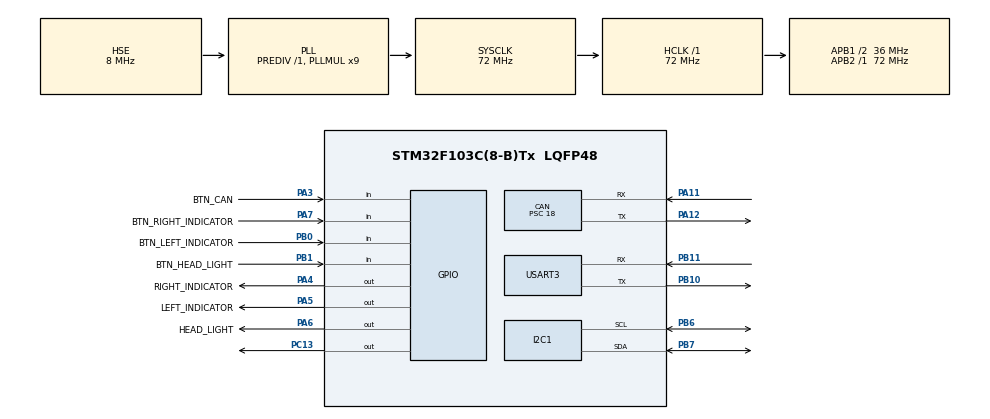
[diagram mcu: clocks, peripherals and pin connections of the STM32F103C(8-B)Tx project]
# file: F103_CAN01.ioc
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CAN.BS1=CAN_BS1_2TQ
CAN.CalculateBaudRate=500000
CAN.CalculateTimeBit=2000
CAN.CalculateTimeQuantum=500.0
CAN.Prescaler=18
I2C1.OwnAddress=0x23
Mcu.Family=STM32F1
Mcu.Name=STM32F103C(8-B)Tx
Mcu.Package=LQFP48
NVIC.CAN1_RX1_IRQn=true\:0\:0\:false\:false\:true\:true\:true\:true
NVIC.PriorityGroup=NVIC_PRIORITYGROUP_4
NVIC.USB_LP_CAN1_RX0_IRQn=true\:0\:0\:false\:false\:true\:true\:true\:true
PA11.Mode=CAN_Activate
PA11.Signal=CAN_RX
PA12.Mode=CAN_Activate
PA12.Signal=CAN_TX
PA13.Mode=Serial_Wire
PA13.Signal=SYS_JTMS-SWDIO
PA14.Mode=Serial_Wire
PA14.Signal=SYS_JTCK-SWCLK
PA3.GPIO_Label=BTN_CAN
PA3.GPIO_PuPd=GPIO_PULLDOWN
PA3.Signal=GPIO_Input
PA4.GPIO_Label=RIGHT_INDICATOR
PA4.Signal=GPIO_Output
PA5.GPIO_Label=LEFT_INDICATOR
PA5.Signal=GPIO_Output
PA6.GPIO_Label=HEAD_LIGHT
PA6.Signal=GPIO_Output
PA7.GPIO_Label=BTN_RIGHT_INDICATOR
PA7.GPIO_PuPd=GPIO_PULLDOWN
PA7.Signal=GPIO_Input
PB0.GPIO_Label=BTN_LEFT_INDICATOR
PB0.GPIO_PuPd=GPIO_PULLDOWN
PB0.Signal=GPIO_Input
PB1.GPIO_Label=BTN_HEAD_LIGHT
PB1.GPIO_PuPd=GPIO_PULLDOWN
PB1.Signal=GPIO_Input
PB10.Mode=Asynchronous
PB10.Signal=USART3_TX
PB11.Mode=Asynchronous
PB11.Signal=USART3_RX
PB6.Mode=I2C
PB6.Signal=I2C1_SCL
PB7.Mode=I2C
PB7.Signal=I2C1_SDA
PC13-TAMPER-RTC.Signal=GPIO_Output
PD0-OSC_IN.Mode=HSE-External-Oscillator
PD0-OSC_IN.Signal=RCC_OSC_IN
PD1-OSC_OUT.Mode=HSE-External-Oscillator
PD1-OSC_OUT.Signal=RCC_OSC_OUT
ProjectManager.HeapSize=0x200
ProjectManager.StackSize=0x400
ProjectManager.TargetToolchain=STM32CubeIDE
RCC.AHBFreq_Value=72000000
RCC.APB1CLKDivider=RCC_HCLK_DIV2
RCC.APB1Freq_Value=36000000
RCC.APB1TimFreq_Value=72000000
RCC.APB2Freq_Value=72000000
RCC.APB2TimFreq_Value=72000000
RCC.HCLKFreq_Value=72000000
RCC.PLLMUL=RCC_PLL_MUL9
RCC.PLLSourceVirtual=RCC_PLLSOURCE_HSE
RCC.SYSCLKFreq_VALUE=72000000
RCC.SYSCLKSource=RCC_SYSCLKSOURCE_PLLCLK
RCC.USBFreq_Value=72000000
USART3.VirtualMode=VM_ASYNC
board=custom

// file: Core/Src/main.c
/* USER CODE BEGIN Header */
/**
 ******************************************************************************
 * @file           : main.c
 * @brief          : Main program body
 ******************************************************************************
 * @attention
 *
 * Copyright (c) 2023 STMicroelectronics.
 * All rights reserved.
 *
 * This software is licensed under terms that can be found in the LICENSE file
 * in the root directory of this software component.
 * If no LICENSE file comes with this software, it is provided AS-IS.
 *
 ******************************************************************************
 */
/* USER CODE END Header */
#include "main.h"
#include "stm32f1xx.h"
#include <stdio.h>
#include <stdbool.h>

CAN_HandleTypeDef hcan;

I2C_HandleTypeDef hi2c1;

UART_HandleTypeDef huart3;

void SystemClock_Config(void);
static void MX_GPIO_Init(void);
static void MX_CAN_Init(void);
static void MX_USART3_UART_Init(void);
static void MX_I2C1_Init(void);
static void updateLightState(uint8_t);
static void sendLightState(void);

/* USER CODE BEGIN 0 */

CAN_TxHeaderTypeDef TxHeader;
CAN_TxHeaderTypeDef TxIVIHeader;
CAN_RxHeaderTypeDef RxHeader;

uint8_t TxData[8];
uint8_t RxData[8];

uint32_t TxMailbox;

bool lightsStatus = false;

void HAL_CAN_RxFifo1MsgPendingCallback(CAN_HandleTypeDef *hcan) {
	char TagCanCallback[30] = { "Master Callback fifo1....\n\r" };
	HAL_UART_Transmit(&huart3, (uint8_t*) &TagCanCallback, 30, 30);
	HAL_CAN_GetRxMessage(hcan, CAN_RX_FIFO1, &RxHeader, RxData);
	char TagCanResult[35];
	sprintf(TagCanResult, "Callback data %ld, %ld, %d\n\r", RxHeader.DLC,
			RxHeader.StdId, RxData[0]);
	HAL_UART_Transmit(&huart3, (uint8_t*) &TagCanResult, 35, 35);
	if (RxHeader.DLC == 2 && RxHeader.StdId == 259) {
		lightsStatus = true;
	}
}

/* USER CODE END 0 */

int main(void) {

	/* MCU Configuration--------------------------------------------------------*/

	/* Reset of all peripherals, Initializes the Flash interface and the Systick. */
	HAL_Init();

	/* Configure the system clock */
	SystemClock_Config();

	/* Initialize all configured peripherals */
	MX_GPIO_Init();
	MX_CAN_Init();
	MX_USART3_UART_Init();
	MX_I2C1_Init();
	/* USER CODE BEGIN 2 */
	HAL_CAN_Start(&hcan);

	// Activate the notification
	HAL_CAN_ActivateNotification(&hcan, CAN_IT_RX_FIFO1_MSG_PENDING);

	TxHeader.DLC = 2;  // data length
	TxHeader.IDE = CAN_ID_STD;
	TxHeader.RTR = CAN_RTR_DATA;
	TxHeader.StdId = 0x446;  // ID

	TxData[0] = 200;   // ms Delay
	TxData[1] = 40;    // loop rep

	TxIVIHeader.DLC = 2;
	TxIVIHeader.IDE = CAN_ID_STD;
	TxIVIHeader.RTR = CAN_RTR_DATA;
	TxIVIHeader.StdId = 0x242;
	TxIVIHeader.TransmitGlobalTime = 1;

	uint8_t sensorAddress = 0x23 << 1;
	uint8_t buffer = 0x01;

	// Power On
	char *TagLightSensor = { '\0' };
	if (HAL_I2C_Master_Transmit(&hi2c1, sensorAddress, &buffer, 1, 100)
			!= HAL_OK) {
		TagLightSensor = "Light sensor power ON failed\n\r";
		HAL_UART_Transmit(&huart3, (uint8_t*) TagLightSensor, 33, 33);
	}

	HAL_Delay(5);

	if (HAL_I2C_GetState(&hi2c1) != HAL_I2C_STATE_READY) {
		TagLightSensor = "Light sensor get state failed\n\r";
		HAL_UART_Transmit(&huart3, (uint8_t*) TagLightSensor, 33, 33);
	}

	// Reset Illuminance Register
	buffer = 0x03;
	if (HAL_I2C_Master_Transmit(&hi2c1, sensorAddress, &buffer, 1, 100)
			!= HAL_OK) {
		TagLightSensor = "Light sensor reset failed\n\r";
		HAL_UART_Transmit(&huart3, (uint8_t*) TagLightSensor, 29, 29);
	}

	// Set measurement mode
	buffer = 0x10;
	if (HAL_I2C_Master_Transmit(&hi2c1, sensorAddress, &buffer, 1, 100)
			!= HAL_OK) {
		TagLightSensor = "Light sensor read failed\n\r";
		HAL_UART_Transmit(&huart3, (uint8_t*) TagLightSensor, 28, 28);
	}

	HAL_Delay(180); // Wait for measurement (or come back after 180 ms instead of idling)

	/* USER CODE END 2 */

	/* Infinite loop */
	while (1) {
		if (HAL_GPIO_ReadPin(GPIOA, BTN_CAN_Pin) == GPIO_PIN_SET) { //Check if CAN button pressed
			char TagCan[35] = { "Master trigger from switch....\n\r" };
			TxData[0] = 200;   // ms Delay
			TxData[1] = 40;    // loop rep
			HAL_UART_Transmit(&huart3, (uint8_t*) &TagCan, 35, 35);
			HAL_CAN_AddTxMessage(&hcan, &TxHeader, TxData, &TxMailbox);
		}

		if (lightsStatus) {
			if (RxData[0] == 4)
				sendLightState();
			else
				updateLightState(RxData[0]);

			lightsStatus = false;
		}

		if (HAL_GPIO_ReadPin(GPIOB, BTN_HEAD_LIGHT_Pin) == GPIO_PIN_SET) { //Check if head light button pressed
			char *TagBtnHeadLight = { "Head light Switch pressed\n\r" };
			HAL_UART_Transmit(&huart3, (uint8_t*) TagBtnHeadLight, 29, 29);
			TxData[0] = 1;
			if (HAL_GPIO_ReadPin(GPIOA, HEAD_LIGHT_Pin) == GPIO_PIN_SET) {
				TxData[1] = 0;
				HAL_GPIO_WritePin(GPIOA, HEAD_LIGHT_Pin, GPIO_PIN_RESET); //HEAD LIGHT OFF
				HAL_CAN_AddTxMessage(&hcan, &TxIVIHeader, TxData, &TxMailbox);
			} else {
				TxData[1] = 1;
				HAL_GPIO_WritePin(GPIOA, HEAD_LIGHT_Pin, GPIO_PIN_SET); // HEAD LIGHT ON
				HAL_CAN_AddTxMessage(&hcan, &TxIVIHeader, TxData, &TxMailbox);
			}
		}

		if (HAL_GPIO_ReadPin(GPIOB, BTN_LEFT_INDICATOR_Pin) == GPIO_PIN_SET) { //Check if left indicator button pressed
			char *TagBtnLeftIndicator = { "Left Indicator Switch pressed\n\r" };
			HAL_UART_Transmit(&huart3, (uint8_t*) TagBtnLeftIndicator, 35, 35);
			TxData[0] = 2;
			if (HAL_GPIO_ReadPin(GPIOA, LEFT_INDICATOR_Pin) == GPIO_PIN_SET) {
				TxData[1] = 0;
				HAL_GPIO_WritePin(GPIOA, LEFT_INDICATOR_Pin, GPIO_PIN_RESET); //LEFT INDICATOR OFF
				HAL_CAN_AddTxMessage(&hcan, &TxIVIHeader, TxData, &TxMailbox);
			} else {
				TxData[1] = 1;
				HAL_GPIO_WritePin(GPIOA, LEFT_INDICATOR_Pin, GPIO_PIN_SET); // LEFT INDICATOR ON
				HAL_CAN_AddTxMessage(&hcan, &TxIVIHeader, TxData, &TxMailbox);
			}
		}

		if (HAL_GPIO_ReadPin(BTN_RIGHT_INDICATOR_GPIO_Port,
		BTN_RIGHT_INDICATOR_Pin) == GPIO_PIN_SET) { //Check if right indicator button pressed
			char *TagBtnRighttIndic = { "Right Indicator Switch pressed\n\r" };
			HAL_UART_Transmit(&huart3, (uint8_t*) TagBtnRighttIndic, 35, 35);
			TxData[0] = 3;
			if (HAL_GPIO_ReadPin(GPIOA, RIGHT_INDICATOR_Pin) == GPIO_PIN_SET) {
				TxData[1] = 0;
				HAL_GPIO_WritePin(GPIOA, RIGHT_INDICATOR_Pin, GPIO_PIN_RESET); //RIGHT INDICATOR OFF
				HAL_CAN_AddTxMessage(&hcan, &TxIVIHeader, TxData, &TxMailbox);
			} else {
				TxData[1] = 1;
				HAL_GPIO_WritePin(GPIOA, RIGHT_INDICATOR_Pin, GPIO_PIN_SET); // RIGHT INDICATOR ON
				HAL_CAN_AddTxMessage(&hcan, &TxIVIHeader, TxData, &TxMailbox);
			}
		}

		uint8_t data[3];
		if (HAL_I2C_Master_Receive(&hi2c1, sensorAddress, data, 3, 100)
				!= HAL_OK) {
			//char TagLightSensor[35];
			//sprintf(TagLightSensor, "Data failed %d, %d, %d\n\r", data[0], data[1], data[2]);
			//HAL_UART_Transmit(&huart3, (uint8_t*) &TagLightSensor, 35, 35);
		} else {
			//char TagLightSensor[35];
			//sprintf(TagLightSensor, "Sensor value %d, %d, %d\n\r", data[0], data[1], data[2]);
			//HAL_UART_Transmit(&huart3, (uint8_t*) &TagLightSensor, 35, 35);
			TxData[0] = 1;
			if (HAL_GPIO_ReadPin(GPIOA, HEAD_LIGHT_Pin) == GPIO_PIN_RESET
					&& data[1] < 50) {
				TxData[1] = 1;
				HAL_GPIO_WritePin(GPIOA, HEAD_LIGHT_Pin, GPIO_PIN_SET); // HEAD LIGHT ON
				HAL_CAN_AddTxMessage(&hcan, &TxIVIHeader, TxData, &TxMailbox);
				char *hLightTag = { "Low light, turning ON head light\n\r" };
				HAL_UART_Transmit(&huart3, (uint8_t*) hLightTag, 36, 36);
			} else if (HAL_GPIO_ReadPin(GPIOA, HEAD_LIGHT_Pin) == GPIO_PIN_SET
					&& data[1] > 50) {
				TxData[1] = 0;
				HAL_GPIO_WritePin(GPIOA, HEAD_LIGHT_Pin, GPIO_PIN_RESET); // HEAD LIGHT OFF
				HAL_CAN_AddTxMessage(&hcan, &TxIVIHeader, TxData, &TxMailbox);
				char *hLightTag = { "Normal light, turning OFF head light\n\r" };
				HAL_UART_Transmit(&huart3, (uint8_t*) hLightTag, 40, 40);
			}
		}

		HAL_Delay(500);
	}
}

void SystemClock_Config(void) {
	RCC_OscInitTypeDef RCC_OscInitStruct = { 0 };
	RCC_ClkInitTypeDef RCC_ClkInitStruct = { 0 };

	/** Initializes the RCC Oscillators according to the specified parameters
	 * in the RCC_OscInitTypeDef structure.
	 */
	RCC_OscInitStruct.OscillatorType = RCC_OSCILLATORTYPE_HSE;
	RCC_OscInitStruct.HSEState = RCC_HSE_ON;
	RCC_OscInitStruct.HSEPredivValue = RCC_HSE_PREDIV_DIV1;
	RCC_OscInitStruct.HSIState = RCC_HSI_ON;
	RCC_OscInitStruct.PLL.PLLState = RCC_PLL_ON;
	RCC_OscInitStruct.PLL.PLLSource = RCC_PLLSOURCE_HSE;
	RCC_OscInitStruct.PLL.PLLMUL = RCC_PLL_MUL9;
	if (HAL_RCC_OscConfig(&RCC_OscInitStruct) != HAL_OK) {
		Error_Handler();
	}

	/** Initializes the CPU, AHB and APB buses clocks
	 */
	RCC_ClkInitStruct.ClockType = RCC_CLOCKTYPE_HCLK | RCC_CLOCKTYPE_SYSCLK
			| RCC_CLOCKTYPE_PCLK1 | RCC_CLOCKTYPE_PCLK2;
	RCC_ClkInitStruct.SYSCLKSource = RCC_SYSCLKSOURCE_PLLCLK;
	RCC_ClkInitStruct.AHBCLKDivider = RCC_SYSCLK_DIV1;
	RCC_ClkInitStruct.APB1CLKDivider = RCC_HCLK_DIV2;
	RCC_ClkInitStruct.APB2CLKDivider = RCC_HCLK_DIV1;

	if (HAL_RCC_ClockConfig(&RCC_ClkInitStruct, FLASH_LATENCY_2) != HAL_OK) {
		Error_Handler();
	}
}

static void MX_CAN_Init(void) {

	hcan.Instance = CAN1;
	hcan.Init.Prescaler = 18;
	hcan.Init.Mode = CAN_MODE_NORMAL;
	hcan.Init.SyncJumpWidth = CAN_SJW_1TQ;
	hcan.Init.TimeSeg1 = CAN_BS1_2TQ;
	hcan.Init.TimeSeg2 = CAN_BS2_1TQ;
	hcan.Init.TimeTriggeredMode = DISABLE;
	hcan.Init.AutoBusOff = DISABLE;
	hcan.Init.AutoWakeUp = DISABLE;
	hcan.Init.AutoRetransmission = DISABLE;
	hcan.Init.ReceiveFifoLocked = DISABLE;
	hcan.Init.TransmitFifoPriority = DISABLE;
	if (HAL_CAN_Init(&hcan) != HAL_OK) {
		Error_Handler();
	}
	/* USER CODE BEGIN CAN_Init 2 */

	CAN_FilterTypeDef canfilterconfig;

	canfilterconfig.FilterActivation = CAN_FILTER_ENABLE;
	canfilterconfig.FilterBank = 8; // which filter bank to use from the assigned ones
	canfilterconfig.FilterFIFOAssignment = CAN_FILTER_FIFO1;
	canfilterconfig.FilterIdHigh = 0x103 << 5;
	canfilterconfig.FilterIdLow = 0;
	canfilterconfig.FilterMaskIdHigh = 0x103 << 5;
	canfilterconfig.FilterMaskIdLow = 0x0000;
	canfilterconfig.FilterMode = CAN_FILTERMODE_IDMASK;
	canfilterconfig.FilterScale = CAN_FILTERSCALE_32BIT;
	canfilterconfig.SlaveStartFilterBank = 10; // how many filters to assign to the CAN1 (master can)

	HAL_CAN_ConfigFilter(&hcan, &canfilterconfig);
	/* USER CODE END CAN_Init 2 */

}

static void MX_I2C1_Init(void) {

	hi2c1.Instance = I2C1;
	hi2c1.Init.ClockSpeed = 100000;
	hi2c1.Init.DutyCycle = I2C_DUTYCYCLE_2;
	hi2c1.Init.OwnAddress1 = 70;
	hi2c1.Init.AddressingMode = I2C_ADDRESSINGMODE_7BIT;
	hi2c1.Init.DualAddressMode = I2C_DUALADDRESS_DISABLE;
	hi2c1.Init.OwnAddress2 = 0;
	hi2c1.Init.GeneralCallMode = I2C_GENERALCALL_DISABLE;
	hi2c1.Init.NoStretchMode = I2C_NOSTRETCH_DISABLE;
	if (HAL_I2C_Init(&hi2c1) != HAL_OK) {
		Error_Handler();
	}

}

static void MX_USART3_UART_Init(void) {

	huart3.Instance = USART3;
	huart3.Init.BaudRate = 115200;
	huart3.Init.WordLength = UART_WORDLENGTH_8B;
	huart3.Init.StopBits = UART_STOPBITS_1;
	huart3.Init.Parity = UART_PARITY_NONE;
	huart3.Init.Mode = UART_MODE_TX_RX;
	huart3.Init.HwFlowCtl = UART_HWCONTROL_NONE;
	huart3.Init.OverSampling = UART_OVERSAMPLING_16;
	if (HAL_UART_Init(&huart3) != HAL_OK) {
		Error_Handler();
	}

}

static void MX_GPIO_Init(void) {
	GPIO_InitTypeDef GPIO_InitStruct = { 0 };

	/* GPIO Ports Clock Enable */
	__HAL_RCC_GPIOC_CLK_ENABLE();
	__HAL_RCC_GPIOD_CLK_ENABLE();
	__HAL_RCC_GPIOA_CLK_ENABLE();
	__HAL_RCC_GPIOB_CLK_ENABLE();

	/*Configure GPIO pin Output Level */
	HAL_GPIO_WritePin(GPIOC, GPIO_PIN_13, GPIO_PIN_RESET);

	/*Configure GPIO pin Output Level */
	HAL_GPIO_WritePin(GPIOA,
	RIGHT_INDICATOR_Pin | LEFT_INDICATOR_Pin | HEAD_LIGHT_Pin, GPIO_PIN_RESET);

	/*Configure GPIO pin : PC13 */
	GPIO_InitStruct.Pin = GPIO_PIN_13;
	GPIO_InitStruct.Mode = GPIO_MODE_OUTPUT_PP;
	GPIO_InitStruct.Pull = GPIO_NOPULL;
	GPIO_InitStruct.Speed = GPIO_SPEED_FREQ_LOW;
	HAL_GPIO_Init(GPIOC, &GPIO_InitStruct);

	/*Configure GPIO pins : BTN_CAN_Pin BTN_RIGHT_INDICATOR_Pin */
	GPIO_InitStruct.Pin = BTN_CAN_Pin | BTN_RIGHT_INDICATOR_Pin;
	GPIO_InitStruct.Mode = GPIO_MODE_INPUT;
	GPIO_InitStruct.Pull = GPIO_PULLDOWN;
	HAL_GPIO_Init(GPIOA, &GPIO_InitStruct);

	/*Configure GPIO pins : RIGHT_INDICATOR_Pin LEFT_INDICATOR_Pin HEAD_LIGHT_Pin */
	GPIO_InitStruct.Pin = RIGHT_INDICATOR_Pin | LEFT_INDICATOR_Pin
			| HEAD_LIGHT_Pin;
	GPIO_InitStruct.Mode = GPIO_MODE_OUTPUT_PP;
	GPIO_InitStruct.Pull = GPIO_NOPULL;
	GPIO_InitStruct.Speed = GPIO_SPEED_FREQ_LOW;
	HAL_GPIO_Init(GPIOA, &GPIO_InitStruct);

	/*Configure GPIO pins : BTN_LEFT_INDICATOR_Pin BTN_HEAD_LIGHT_Pin */
	GPIO_InitStruct.Pin = BTN_LEFT_INDICATOR_Pin | BTN_HEAD_LIGHT_Pin;
	GPIO_InitStruct.Mode = GPIO_MODE_INPUT;
	GPIO_InitStruct.Pull = GPIO_PULLDOWN;
	HAL_GPIO_Init(GPIOB, &GPIO_InitStruct);

}

/* USER CODE BEGIN 4 */

static void updateLightState(uint8_t light) {
	GPIO_PinState state = RxData[1] == 0 ? GPIO_PIN_RESET : GPIO_PIN_SET;
	if (light == 1)
		HAL_GPIO_WritePin(GPIOA, HEAD_LIGHT_Pin, state); //HEAD LIGHT
	else if (light == 2)
		HAL_GPIO_WritePin(GPIOA, LEFT_INDICATOR_Pin, state); //LEFT INDICATOR
	else if (light == 3)
		HAL_GPIO_WritePin(GPIOA, RIGHT_INDICATOR_Pin, state); //RIGHT INDICATOR

}

static void sendLightState(void) {
	TxData[0] = 1;
	if (HAL_GPIO_ReadPin(GPIOA, HEAD_LIGHT_Pin) == GPIO_PIN_RESET) {
		TxData[1] = 0;
		HAL_CAN_AddTxMessage(&hcan, &TxIVIHeader, TxData, &TxMailbox);
	} else {
		TxData[1] = 1;
		HAL_CAN_AddTxMessage(&hcan, &TxIVIHeader, TxData, &TxMailbox);
	}
	HAL_Delay(50);
	TxData[0] = 2;
	if (HAL_GPIO_ReadPin(GPIOA, LEFT_INDICATOR_Pin) == GPIO_PIN_RESET) {
		TxData[1] = 0;
		HAL_CAN_AddTxMessage(&hcan, &TxIVIHeader, TxData, &TxMailbox);
	} else {
		TxData[1] = 1;
		HAL_CAN_AddTxMessage(&hcan, &TxIVIHeader, TxData, &TxMailbox);
	}
	HAL_Delay(50);
	TxData[0] = 3;
	if (HAL_GPIO_ReadPin(GPIOA, RIGHT_INDICATOR_Pin) == GPIO_PIN_RESET) {
		TxData[1] = 0;
		HAL_CAN_AddTxMessage(&hcan, &TxIVIHeader, TxData, &TxMailbox);
	} else {
		TxData[1] = 1;
		HAL_CAN_AddTxMessage(&hcan, &TxIVIHeader, TxData, &TxMailbox);
	}
	HAL_Delay(50);
}

/* USER CODE END 4 */

void Error_Handler(void) {
	__disable_irq();
	while (1) {
	}
}
